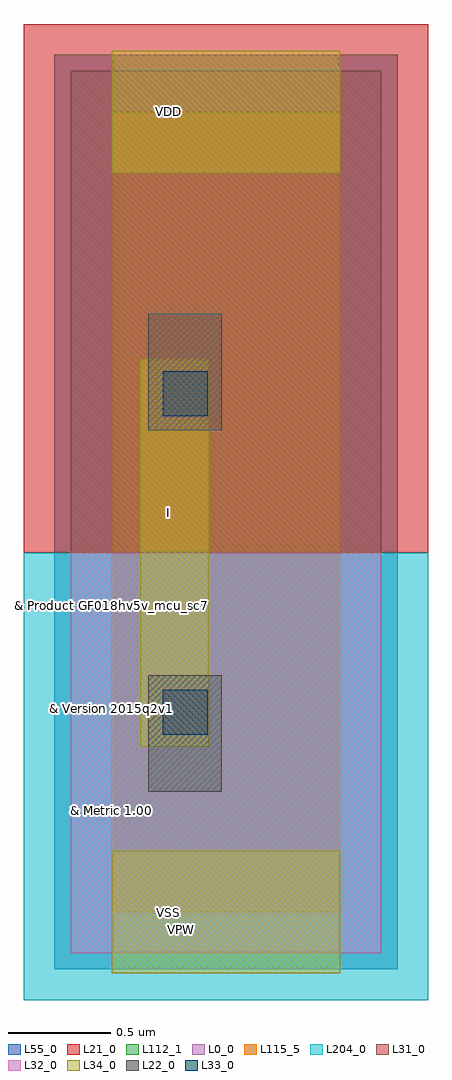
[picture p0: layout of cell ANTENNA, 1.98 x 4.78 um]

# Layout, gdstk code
import gdstk
lib = gdstk.Library(unit=1e-6, precision=1e-09)
def R(c, l, rs):  # rectangles x0, y0, x1, y1
    for r in rs: c.add(gdstk.rectangle(r[:2], r[2:], *l))
L0_0 = (0, 0)
L21_0 = (21, 0)
L22_0 = (22, 0)
L31_0 = (31, 0)
L32_0 = (32, 0)
L33_0 = (33, 0)
L34_0 = (34, 0)
L55_0 = (55, 0)
L112_1 = (112, 1)
L115_5 = (115, 5)
L204_0 = (204, 0)

antenna = lib.new_cell('ANTENNA')
R(antenna, L0_0, [(0,0,1.12,3.92)])
R(antenna, L21_0, [(-0.43,1.76,1.55,4.35)])
R(antenna, L22_0, [(0.18,0.59,0.54,1.16), (0.18,2.36,0.54,2.93)])
R(antenna, L31_0, [(-0.2,1.76,1.32,4.12)])
R(antenna, L32_0, [(-0.2,-0.2,1.32,1.76)])
R(antenna, L33_0, [(0.25,0.87,0.47,1.09), (0.25,2.43,0.47,2.65)])
R(antenna, L34_0, [(0,-0.3,1.12,0.3), (0.14,0.81,0.475,2.71), (0,3.62,1.12,4.22)])
R(antenna, L55_0, [(-0.28,-0.28,1.4,4.2)])
R(antenna, L112_1, [(0,0,1.12,3.92)])
R(antenna, L115_5, [(0,0,1.12,3.92)])
R(antenna, L204_0, [(-0.43,-0.43,1.55,1.76)])
antenna.add(gdstk.Label('VSS', (0.28,0), layer=34, texttype=10))
antenna.add(gdstk.Label('I', (0.28,1.96), layer=34, texttype=10))
antenna.add(gdstk.Label('VDD', (0.28,3.92), layer=34, texttype=10))
antenna.add(gdstk.Label('& Vendor GLOBALFOUNDRIES', (0,2), layer=63, texttype=63))
antenna.add(gdstk.Label('& Product GF018hv5v_mcu_sc7', (0,1.5), layer=63, texttype=63))
antenna.add(gdstk.Label('& Version 2015q2v1', (0,1), layer=63, texttype=63))
antenna.add(gdstk.Label('& Metric 1.00', (0,0.5), layer=63, texttype=63))
antenna.add(gdstk.Label('VNW', (0.345,3.92), layer=21, texttype=10))
antenna.add(gdstk.Label('VPW', (0.34,-0.085), layer=204, texttype=10))

lib.write_gds('ANTENNA.gds')
